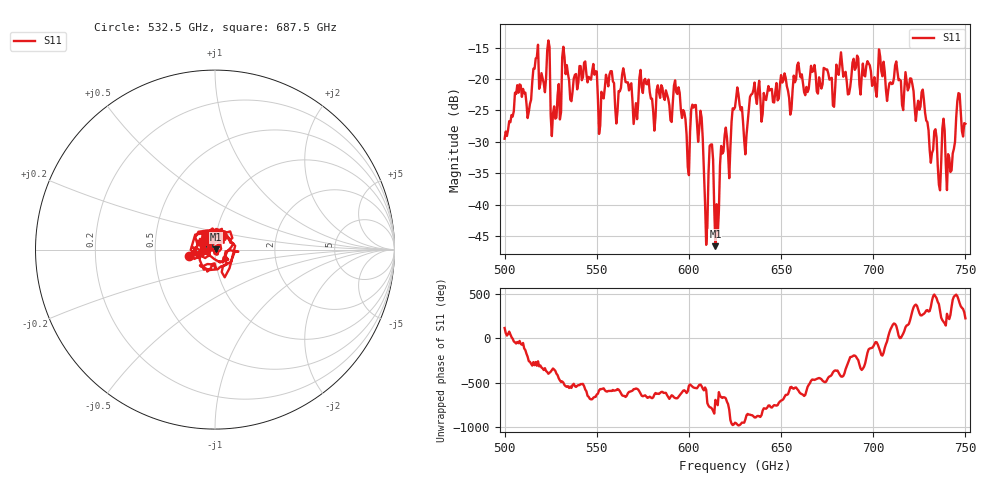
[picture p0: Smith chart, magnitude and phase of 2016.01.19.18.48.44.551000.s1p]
!Created with skrf (http://scikit-rf.org).
# GHz S RI R 50.0
!freq ReS11 ImS11
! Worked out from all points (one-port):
!   401 points, 500 GHz to 750 GHz, reference 50 ohm
!   lowest |S11| = -46.6 dB at 614.4 GHz (marker M1), VSWR 1.01, Z = 50.4 + j0.21 ohm
!   |S11| at or under -10 dB: start of sweep to end of sweep
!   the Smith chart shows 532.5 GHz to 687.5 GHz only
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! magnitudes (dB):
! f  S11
! 500 GHz  -29.5
! 507.5 GHz  -22.2
! 513.1 GHz  -25.2
! 516.9 GHz  -16.7
! 523.1 GHz  -15.4
! 526.2 GHz  -25.5
! 531.2 GHz  -16.5
! 562.5 GHz  -22.0
! 593.8 GHz  -22.4
! 599.4 GHz  -34.0
! 602.5 GHz  -24.5
! 606.2 GHz  -25.0
! 609.4 GHz  -46.4
! 611.9 GHz  -30.4
! 614.4 GHz  -46.6
! 618.8 GHz  -31.5
! 625 GHz  -24.5
! 630.6 GHz  -32.0
! 634.4 GHz  -22.4
! 656.2 GHz  -21.8
! 687.5 GHz  -21.3
! 718.8 GHz  -21.8
! 727.5 GHz  -23.3
! 735.6 GHz  -36.8
! 738.1 GHz  -26.3
! 741.2 GHz  -32.5
! 746.2 GHz  -22.2
! 750 GHz  -27.1
